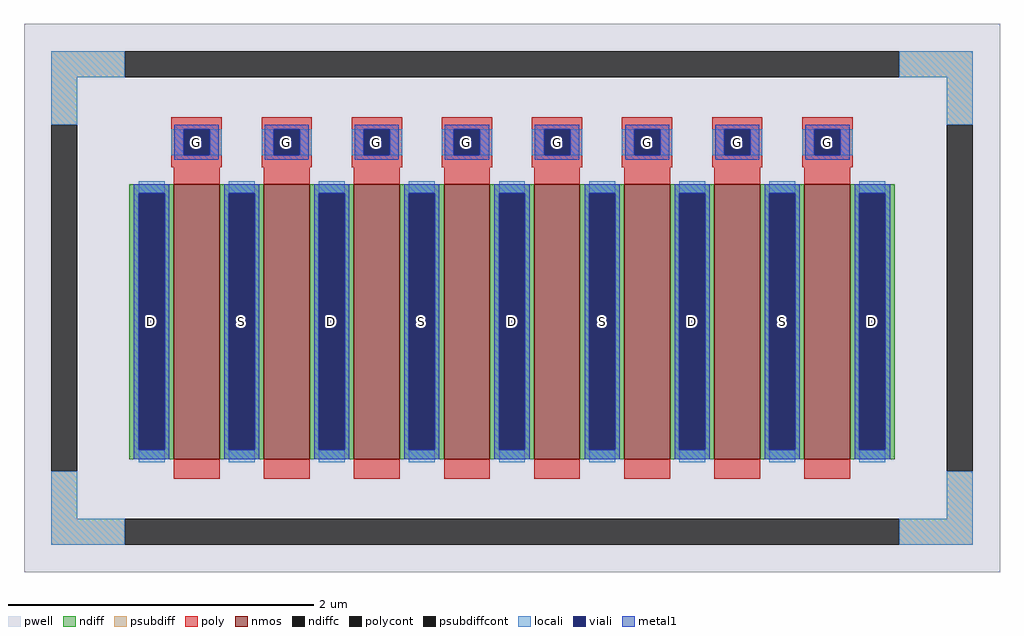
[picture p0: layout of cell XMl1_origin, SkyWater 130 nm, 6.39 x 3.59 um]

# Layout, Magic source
magic
tech sky130A
magscale 1 2
<< pwell >>
rect -639 -359 639 359
<< nmos >>
rect -443 -211 -383 149
rect -325 -211 -265 149
rect -207 -211 -147 149
rect -89 -211 -29 149
rect 29 -211 89 149
rect 147 -211 207 149
rect 265 -211 325 149
rect 383 -211 443 149
<< ndiff >>
rect -501 137 -443 149
rect -501 -199 -489 137
rect -455 -199 -443 137
rect -501 -211 -443 -199
rect -383 137 -325 149
rect -383 -199 -371 137
rect -337 -199 -325 137
rect -383 -211 -325 -199
rect -265 137 -207 149
rect -265 -199 -253 137
rect -219 -199 -207 137
rect -265 -211 -207 -199
rect -147 137 -89 149
rect -147 -199 -135 137
rect -101 -199 -89 137
rect -147 -211 -89 -199
rect -29 137 29 149
rect -29 -199 -17 137
rect 17 -199 29 137
rect -29 -211 29 -199
rect 89 137 147 149
rect 89 -199 101 137
rect 135 -199 147 137
rect 89 -211 147 -199
rect 207 137 265 149
rect 207 -199 219 137
rect 253 -199 265 137
rect 207 -211 265 -199
rect 325 137 383 149
rect 325 -199 337 137
rect 371 -199 383 137
rect 325 -211 383 -199
rect 443 137 501 149
rect 443 -199 455 137
rect 489 -199 501 137
rect 443 -211 501 -199
<< ndiffc >>
rect -489 -199 -455 137
rect -371 -199 -337 137
rect -253 -199 -219 137
rect -135 -199 -101 137
rect -17 -199 17 137
rect 101 -199 135 137
rect 219 -199 253 137
rect 337 -199 371 137
rect 455 -199 489 137
<< psubdiff >>
rect -603 289 -507 323
rect 507 289 603 323
rect -603 227 -569 289
rect 569 227 603 289
rect -603 -289 -569 -227
rect 569 -289 603 -227
rect -603 -323 -507 -289
rect 507 -323 603 -289
<< psubdiffcont >>
rect -507 289 507 323
rect -603 -227 -569 227
rect 569 -227 603 227
rect -507 -323 507 -289
<< poly >>
rect -446 221 -380 237
rect -446 187 -430 221
rect -396 187 -380 221
rect -446 171 -380 187
rect -328 221 -262 237
rect -328 187 -312 221
rect -278 187 -262 221
rect -328 171 -262 187
rect -210 221 -144 237
rect -210 187 -194 221
rect -160 187 -144 221
rect -210 171 -144 187
rect -92 221 -26 237
rect -92 187 -76 221
rect -42 187 -26 221
rect -92 171 -26 187
rect 26 221 92 237
rect 26 187 42 221
rect 76 187 92 221
rect 26 171 92 187
rect 144 221 210 237
rect 144 187 160 221
rect 194 187 210 221
rect 144 171 210 187
rect 262 221 328 237
rect 262 187 278 221
rect 312 187 328 221
rect 262 171 328 187
rect 380 221 446 237
rect 380 187 396 221
rect 430 187 446 221
rect 380 171 446 187
rect -443 149 -383 171
rect -325 149 -265 171
rect -207 149 -147 171
rect -89 149 -29 171
rect 29 149 89 171
rect 147 149 207 171
rect 265 149 325 171
rect 383 149 443 171
rect -443 -237 -383 -211
rect -325 -237 -265 -211
rect -207 -237 -147 -211
rect -89 -237 -29 -211
rect 29 -237 89 -211
rect 147 -237 207 -211
rect 265 -237 325 -211
rect 383 -237 443 -211
<< polycont >>
rect -430 187 -396 221
rect -312 187 -278 221
rect -194 187 -160 221
rect -76 187 -42 221
rect 42 187 76 221
rect 160 187 194 221
rect 278 187 312 221
rect 396 187 430 221
<< locali >>
rect -603 289 -507 323
rect 507 289 603 323
rect -603 227 -569 289
rect 569 227 603 289
rect -446 187 -430 221
rect -396 187 -380 221
rect -328 187 -312 221
rect -278 187 -262 221
rect -210 187 -194 221
rect -160 187 -144 221
rect -92 187 -76 221
rect -42 187 -26 221
rect 26 187 42 221
rect 76 187 92 221
rect 144 187 160 221
rect 194 187 210 221
rect 262 187 278 221
rect 312 187 328 221
rect 380 187 396 221
rect 430 187 446 221
rect -489 137 -455 153
rect -489 -215 -455 -199
rect -371 137 -337 153
rect -371 -215 -337 -199
rect -253 137 -219 153
rect -253 -215 -219 -199
rect -135 137 -101 153
rect -135 -215 -101 -199
rect -17 137 17 153
rect -17 -215 17 -199
rect 101 137 135 153
rect 101 -215 135 -199
rect 219 137 253 153
rect 219 -215 253 -199
rect 337 137 371 153
rect 337 -215 371 -199
rect 455 137 489 153
rect 455 -215 489 -199
rect -603 -289 -569 -227
rect 569 -289 603 -227
rect -603 -323 -507 -289
rect 507 -323 603 -289
<< viali >>
rect -430 187 -396 221
rect -312 187 -278 221
rect -194 187 -160 221
rect -76 187 -42 221
rect 42 187 76 221
rect 160 187 194 221
rect 278 187 312 221
rect 396 187 430 221
rect -489 -199 -455 137
rect -371 -199 -337 137
rect -253 -199 -219 137
rect -135 -199 -101 137
rect -17 -199 17 137
rect 101 -199 135 137
rect 219 -199 253 137
rect 337 -199 371 137
rect 455 -199 489 137
<< metal1 >>
rect -442 221 -384 227
rect -442 187 -430 221
rect -396 187 -384 221
rect -442 181 -384 187
rect -324 221 -266 227
rect -324 187 -312 221
rect -278 187 -266 221
rect -324 181 -266 187
rect -206 221 -148 227
rect -206 187 -194 221
rect -160 187 -148 221
rect -206 181 -148 187
rect -88 221 -30 227
rect -88 187 -76 221
rect -42 187 -30 221
rect -88 181 -30 187
rect 30 221 88 227
rect 30 187 42 221
rect 76 187 88 221
rect 30 181 88 187
rect 148 221 206 227
rect 148 187 160 221
rect 194 187 206 221
rect 148 181 206 187
rect 266 221 324 227
rect 266 187 278 221
rect 312 187 324 221
rect 266 181 324 187
rect 384 221 442 227
rect 384 187 396 221
rect 430 187 442 221
rect 384 181 442 187
rect -495 137 -449 149
rect -495 -199 -489 137
rect -455 -199 -449 137
rect -495 -211 -449 -199
rect -377 137 -331 149
rect -377 -199 -371 137
rect -337 -199 -331 137
rect -377 -211 -331 -199
rect -259 137 -213 149
rect -259 -199 -253 137
rect -219 -199 -213 137
rect -259 -211 -213 -199
rect -141 137 -95 149
rect -141 -199 -135 137
rect -101 -199 -95 137
rect -141 -211 -95 -199
rect -23 137 23 149
rect -23 -199 -17 137
rect 17 -199 23 137
rect -23 -211 23 -199
rect 95 137 141 149
rect 95 -199 101 137
rect 135 -199 141 137
rect 95 -211 141 -199
rect 213 137 259 149
rect 213 -199 219 137
rect 253 -199 259 137
rect 213 -211 259 -199
rect 331 137 377 149
rect 331 -199 337 137
rect 371 -199 377 137
rect 331 -211 377 -199
rect 449 137 495 149
rect 449 -199 455 137
rect 489 -199 495 137
rect 449 -211 495 -199
<< labels >>
flabel metal1 -413 204 -413 204 0 FreeSans 240 0 0 0 G
flabel metal1 -295 204 -295 204 0 FreeSans 240 0 0 0 G
flabel metal1 -177 204 -177 204 0 FreeSans 240 0 0 0 G
flabel metal1 -59 204 -59 204 0 FreeSans 240 0 0 0 G
flabel metal1 59 204 59 204 0 FreeSans 240 0 0 0 G
flabel metal1 177 204 177 204 0 FreeSans 240 0 0 0 G
flabel metal1 295 204 295 204 0 FreeSans 240 0 0 0 G
flabel metal1 413 204 413 204 0 FreeSans 240 0 0 0 G
flabel metal1 -472 -31 -472 -31 0 FreeSans 240 0 0 0 D
flabel metal1 -354 -31 -354 -31 0 FreeSans 240 0 0 0 S
flabel metal1 -236 -31 -236 -31 0 FreeSans 240 0 0 0 D
flabel metal1 -118 -31 -118 -31 0 FreeSans 240 0 0 0 S
flabel metal1 0 -31 0 -31 0 FreeSans 240 0 0 0 D
flabel metal1 118 -31 118 -31 0 FreeSans 240 0 0 0 S
flabel metal1 236 -31 236 -31 0 FreeSans 240 0 0 0 D
flabel metal1 354 -31 354 -31 0 FreeSans 240 0 0 0 S
flabel metal1 472 -31 472 -31 0 FreeSans 240 0 0 0 D
<< properties >>
string FIXED_BBOX -586 -306 586 306
<< end >>
